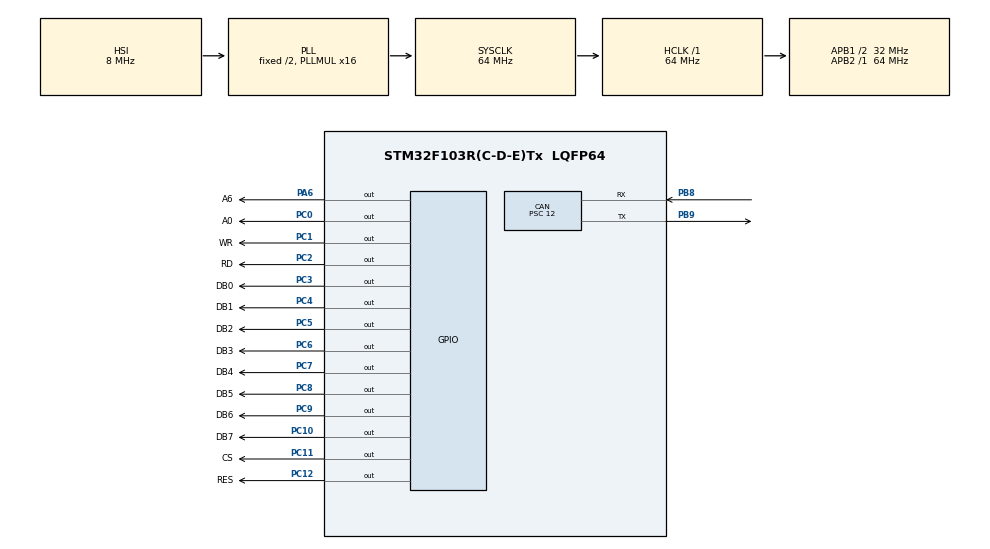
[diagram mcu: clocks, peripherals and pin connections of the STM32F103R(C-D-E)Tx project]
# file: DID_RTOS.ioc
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CAN.BS1=CAN_BS1_13TQ
CAN.BS2=CAN_BS2_2TQ
CAN.CalculateBaudRate=166666
CAN.CalculateTimeBit=6000.00
CAN.CalculateTimeQuantum=375.0
CAN.Prescaler=12
FREERTOS.Events01=stateEventFlags,Dynamic,NULL
FREERTOS.Tasks01=messageReceive,24,128,messageReceiveTask,Default,NULL,Dynamic,NULL,NULL;updateDisplay,8,128,updateDisplayTask,Default,NULL,Dynamic,NULL,NULL;updateEventFlag,32,128,updateEventFlagsTask,Default,NULL,Dynamic,NULL,NULL;pageChange,8,128,pageChangeTask,Default,NULL,Dynamic,NULL,NULL;pageTimeout,8,128,pageTimeoutTask,Default,NULL,Dynamic,NULL,NULL
FREERTOS.configUSE_NEWLIB_REENTRANT=1
Mcu.Family=STM32F1
Mcu.Name=STM32F103R(C-D-E)Tx
Mcu.Package=LQFP64
NVIC.PriorityGroup=NVIC_PRIORITYGROUP_4
NVIC.TIM8_UP_IRQn=true\:0\:0\:false\:false\:true\:false\:false\:true
NVIC.TimeBase=TIM8_UP_IRQn
NVIC.TimeBaseIP=TIM8
NVIC.USB_LP_CAN1_RX0_IRQn=true\:5\:0\:false\:false\:true\:true\:true\:true
PA13.Mode=Serial_Wire
PA13.Signal=SYS_JTMS-SWDIO
PA14.Mode=Serial_Wire
PA14.Signal=SYS_JTCK-SWCLK
PA6.GPIO_Label=A6
PA6.GPIO_PuPd=GPIO_PULLDOWN
PA6.Signal=GPIO_Output
PB8.Mode=CAN_Activate
PB8.Signal=CAN_RX
PB9.Mode=CAN_Activate
PB9.Signal=CAN_TX
PC0.GPIO_Label=A0
PC0.Signal=GPIO_Output
PC1.GPIO_Label=WR
PC1.Signal=GPIO_Output
PC10.GPIO_Label=DB7
PC10.Signal=GPIO_Output
PC11.GPIO_Label=CS
PC11.Signal=GPIO_Output
PC12.GPIO_Label=RES
PC12.Signal=GPIO_Output
PC2.GPIO_Label=RD
PC2.Signal=GPIO_Output
PC3.GPIO_Label=DB0
PC3.Signal=GPIO_Output
PC4.GPIO_Label=DB1
PC4.Signal=GPIO_Output
PC5.GPIO_Label=DB2
PC5.Signal=GPIO_Output
PC6.GPIO_Label=DB3
PC6.Signal=GPIO_Output
PC7.GPIO_Label=DB4
PC7.Signal=GPIO_Output
PC8.GPIO_Label=DB5
PC8.Signal=GPIO_Output
PC9.GPIO_Label=DB6
PC9.Signal=GPIO_Output
ProjectManager.HeapSize=0x200
ProjectManager.StackSize=0x400
ProjectManager.TargetToolchain=STM32CubeIDE
RCC.AHBFreq_Value=64000000
RCC.APB1CLKDivider=RCC_HCLK_DIV2
RCC.APB1Freq_Value=32000000
RCC.APB1TimFreq_Value=64000000
RCC.APB2Freq_Value=64000000
RCC.APB2TimFreq_Value=64000000
RCC.HCLKFreq_Value=64000000
RCC.PLLMUL=RCC_PLL_MUL16
RCC.SYSCLKFreq_VALUE=64000000
RCC.SYSCLKSource=RCC_SYSCLKSOURCE_PLLCLK
RCC.USBFreq_Value=64000000
VP_FREERTOS_VS_CMSIS_V2.Mode=CMSIS_V2
VP_SYS_VS_tim8.Mode=TIM8
board=custom

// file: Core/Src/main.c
/* USER CODE BEGIN Header */
/**
  ******************************************************************************
  * @file           : main.c
  * @brief          : Main program body
  ******************************************************************************
  * @attention
  *
  * <h2><center>&copy; Copyright (c) 2022 STMicroelectronics.
  * All rights reserved.</center></h2>
  *
  * This software component is licensed by ST under BSD 3-Clause license,
  * the "License"; You may not use this file except in compliance with the
  * License. You may obtain a copy of the License at:
  *                        opensource.org/licenses/BSD-3-Clause
  *
  ******************************************************************************
  */
/* USER CODE END Header */
#include "main.h"
#include "cmsis_os.h"
#include "can.h"
#include "gpio.h"

/* USER CODE BEGIN Includes */
#include "LCD.h"

/* USER CODE END Includes */

/* USER CODE BEGIN PV */

// CAN filtering
CAN_FilterTypeDef CAN_filter0;
CAN_FilterTypeDef CAN_filter1;

// CAN receiving
CAN_RxHeaderTypeDef CAN_rx_header;

struct EventFlags event_flags;			// Event flags set as either 1 or 0

/* USER CODE END PV */

void SystemClock_Config(void);
void MX_FREERTOS_Init(void);

/* USER CODE BEGIN 0 */

void HAL_CAN_RxFifo0MsgPendingCallback(CAN_HandleTypeDef *hcan)
{
	// Set message flag to 1 so that the update display task can execute
	event_flags.message_receive = 0x01;
}

/* USER CODE END 0 */

int main(void)
{

  /* MCU Configuration--------------------------------------------------------*/

  /* Reset of all peripherals, Initializes the Flash interface and the Systick. */
  HAL_Init();

  /* Configure the system clock */
  SystemClock_Config();

  /* Initialize all configured peripherals */
  MX_GPIO_Init();
  MX_CAN_Init();
  /* USER CODE BEGIN 2 */

  // CAN Initialization
  CanFilterSetup();
  HAL_CAN_Start(&hcan);

  // Display startup screen
  ScreenSetup();
  ClearScreen();
  DisplayScreen();

  /* USER CODE END 2 */

  /* Init scheduler */
  osKernelInitialize();  /* Call init function for freertos objects (in freertos.c) */
  MX_FREERTOS_Init();
  /* Start scheduler */
  osKernelStart();

  /* We should never get here as control is now taken by the scheduler */
  /* Infinite loop */
  while (1)
  {

  }
}

void SystemClock_Config(void)
{
  RCC_OscInitTypeDef RCC_OscInitStruct = {0};
  RCC_ClkInitTypeDef RCC_ClkInitStruct = {0};

  /** Initializes the RCC Oscillators according to the specified parameters
  * in the RCC_OscInitTypeDef structure.
  */
  RCC_OscInitStruct.OscillatorType = RCC_OSCILLATORTYPE_HSI;
  RCC_OscInitStruct.HSIState = RCC_HSI_ON;
  RCC_OscInitStruct.HSICalibrationValue = RCC_HSICALIBRATION_DEFAULT;
  RCC_OscInitStruct.PLL.PLLState = RCC_PLL_ON;
  RCC_OscInitStruct.PLL.PLLSource = RCC_PLLSOURCE_HSI_DIV2;
  RCC_OscInitStruct.PLL.PLLMUL = RCC_PLL_MUL16;
  if (HAL_RCC_OscConfig(&RCC_OscInitStruct) != HAL_OK)
  {
    Error_Handler();
  }
  /** Initializes the CPU, AHB and APB buses clocks
  */
  RCC_ClkInitStruct.ClockType = RCC_CLOCKTYPE_HCLK|RCC_CLOCKTYPE_SYSCLK
                              |RCC_CLOCKTYPE_PCLK1|RCC_CLOCKTYPE_PCLK2;
  RCC_ClkInitStruct.SYSCLKSource = RCC_SYSCLKSOURCE_PLLCLK;
  RCC_ClkInitStruct.AHBCLKDivider = RCC_SYSCLK_DIV1;
  RCC_ClkInitStruct.APB1CLKDivider = RCC_HCLK_DIV2;
  RCC_ClkInitStruct.APB2CLKDivider = RCC_HCLK_DIV1;

  if (HAL_RCC_ClockConfig(&RCC_ClkInitStruct, FLASH_LATENCY_2) != HAL_OK)
  {
    Error_Handler();
  }
}

 /**
  * @brief  Period elapsed callback in non blocking mode
  * @note   This function is called  when TIM8 interrupt took place, inside
  * HAL_TIM_IRQHandler(). It makes a direct call to HAL_IncTick() to increment
  * a global variable "uwTick" used as application time base.
  * @param  htim : TIM handle
  * @retval None
  */
void HAL_TIM_PeriodElapsedCallback(TIM_HandleTypeDef *htim)
{
  if (htim->Instance == TIM8) {
    HAL_IncTick();
  }
}

void Error_Handler(void)
{
  __disable_irq();
  while (1)
  {
  }
}

/************************ (C) COPYRIGHT STMicroelectronics *****END OF FILE****/

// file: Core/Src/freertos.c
/* USER CODE BEGIN Header */
/**
  ******************************************************************************
  * File Name          : freertos.c
  * Description        : Code for freertos applications
  ******************************************************************************
  * @attention
  *
  * <h2><center>&copy; Copyright (c) 2022 STMicroelectronics.
  * All rights reserved.</center></h2>
  *
  * This software component is licensed by ST under Ultimate Liberty license
  * SLA0044, the "License"; You may not use this file except in compliance with
  * the License. You may obtain a copy of the License at:
  *                             www.st.com/SLA0044
  *
  ******************************************************************************
  */
/* USER CODE END Header */

#include "FreeRTOS.h"
#include "task.h"
#include "main.h"
#include "cmsis_os.h"

/* USER CODE BEGIN Includes */
#include "can.h"
#include "LCD.h"

/* USER CODE END Includes */

/* USER CODE BEGIN PD */

#define MESSAGE_RECEIVE_TASK_DELAY 1
#define UPDATE_DISPLAY_TASK_DELAY 1
#define UPDATE_EVENT_FLAGS_TASK_DELAY 1
#define PAGE_CHANGE_TASK_DELAY 1
#define PAGE_TIMEOUT_TASK_DELAY 1

/* USER CODE END PD */

/* USER CODE BEGIN Variables */

/**
 * The dashboard can only be doing one of these actions at a time.
 * States are used to set the state event flag which is used in starting tasks.
 */
enum DisplayStates {
	IDLE = (uint32_t) 0x0000,					// Default state when no task needs to be executed

	MESSAGE_RECEIVE = (uint32_t) 0x0001,		// Data has been received, store the data

	UPDATE_DISPLAY = (uint32_t) 0x0002,			// After data has been stored, update the display
												// with the new data

	PAGE_CHANGE = (uint32_t) 0x0004,			// Button has been pressed, change page

	PAGE_TIMEOUT = (uint32_t) 0x0008,			// User has been on a page other than page 1
												// for a long time, go back to page 1
} state;

/* USER CODE END Variables */
/* Definitions for messageReceive */
osThreadId_t messageReceiveHandle;
const osThreadAttr_t messageReceive_attributes = {
  .name = "messageReceive",
  .stack_size = 128 * 4,
  .priority = (osPriority_t) osPriorityNormal,
};
/* Definitions for updateDisplay */
osThreadId_t updateDisplayHandle;
const osThreadAttr_t updateDisplay_attributes = {
  .name = "updateDisplay",
  .stack_size = 128 * 4,
  .priority = (osPriority_t) osPriorityLow,
};
/* Definitions for updateEventFlag */
osThreadId_t updateEventFlagHandle;
const osThreadAttr_t updateEventFlag_attributes = {
  .name = "updateEventFlag",
  .stack_size = 128 * 4,
  .priority = (osPriority_t) osPriorityAboveNormal,
};
/* Definitions for pageChange */
osThreadId_t pageChangeHandle;
const osThreadAttr_t pageChange_attributes = {
  .name = "pageChange",
  .stack_size = 128 * 4,
  .priority = (osPriority_t) osPriorityLow,
};
/* Definitions for pageTimeout */
osThreadId_t pageTimeoutHandle;
const osThreadAttr_t pageTimeout_attributes = {
  .name = "pageTimeout",
  .stack_size = 128 * 4,
  .priority = (osPriority_t) osPriorityLow,
};
/* Definitions for stateEventFlags */
osEventFlagsId_t stateEventFlagsHandle;
const osEventFlagsAttr_t stateEventFlags_attributes = {
  .name = "stateEventFlags"
};

void messageReceiveTask(void *argument);
void updateDisplayTask(void *argument);
void updateEventFlagsTask(void *argument);
void pageChangeTask(void *argument);
void pageTimeoutTask(void *argument);

void MX_FREERTOS_Init(void); /* (MISRA C 2004 rule 8.1) */

void MX_FREERTOS_Init(void) {

  /* Create the thread(s) */
  /* creation of messageReceive */
  messageReceiveHandle = osThreadNew(messageReceiveTask, NULL, &messageReceive_attributes);

  /* creation of updateDisplay */
  updateDisplayHandle = osThreadNew(updateDisplayTask, NULL, &updateDisplay_attributes);

  /* creation of updateEventFlag */
  updateEventFlagHandle = osThreadNew(updateEventFlagsTask, NULL, &updateEventFlag_attributes);

  /* creation of pageChange */
  pageChangeHandle = osThreadNew(pageChangeTask, NULL, &pageChange_attributes);

  /* creation of pageTimeout */
  pageTimeoutHandle = osThreadNew(pageTimeoutTask, NULL, &pageTimeout_attributes);

  /* Create the event(s) */
  /* creation of stateEventFlags */
  stateEventFlagsHandle = osEventFlagsNew(&stateEventFlags_attributes);

}

/* USER CODE BEGIN Header_messageReceiveTask */
/**
  * @brief  Reads CAN message ID received and updates the corresponding structure for the global data array.
  * 		Currently, parses the data for specific IDs that require manipulation of the rx_data.
  */
/* USER CODE END Header_messageReceiveTask */
void messageReceiveTask(void *argument)
{
  /* USER CODE BEGIN messageReceiveTask */
	uint8_t CAN_rx_data[8];
	while(1)
	{
		// Wait for the CAN FIFO0 interrupt to invoke and set the event flag

		osEventFlagsWait(stateEventFlagsHandle, MESSAGE_RECEIVE, osFlagsWaitAll, osWaitForever);

		// Check if message is available
		if (HAL_CAN_GetRxFifoFillLevel(&hcan, CAN_RX_FIFO0) != 0)
		{
			// Populate CAN header and data variables
			HAL_CAN_GetRxMessage(&hcan, CAN_RX_FIFO0, &CAN_rx_header, CAN_rx_data);

			// Find the matching data that needs to be updated
			for(uint8_t struct_index = 0; struct_index < NUM_CAN_IDS; struct_index++)
			{
				if(DisplayData[struct_index].can_id == CAN_rx_header.StdId)
				{
					for(int data_index = 0; data_index < 8; data_index++)
					{
						DisplayData[struct_index].raw_data[data_index] = CAN_rx_data[data_index];
					}
				}
			}

			// Set event flag to run the updateDisplay task
			event_flags.update_display = 0x01;

			// Reset the event flag after the task has finished
			event_flags.message_receive - 0x00;
		}
		osDelay(MESSAGE_RECEIVE_TASK_DELAY);
	}
  /* USER CODE END messageReceiveTask */
}

/* USER CODE BEGIN Header_updateDisplayTask */
/**
* @brief 	Updates the display. Only called after new data has been received
*/
/* USER CODE END Header_updateDisplayTask */
void updateDisplayTask(void *argument)
{
  /* USER CODE BEGIN updateDisplayTask */
	while(1)
	{
		// Wait for the CAN FIFO0 interrupt to invoke and set the event flag

		osEventFlagsWait(stateEventFlagsHandle, UPDATE_DISPLAY, osFlagsWaitAll, osWaitForever);

		DisplayScreen();

		// Reset the event flag after the task has finished
		event_flags.update_display = 0x00;

		osDelay(UPDATE_DISPLAY_TASK_DELAY);
	}
  /* USER CODE END updateDisplayTask */
}

/* USER CODE BEGIN Header_updateEventFlagsTask */
/**
* @brief 	Sets the display state event flag based on the event_flags value
*/
/* USER CODE END Header_updateEventFlagsTask */
void updateEventFlagsTask(void *argument)
{
  /* USER CODE BEGIN updateEventFlagsTask */
	while(1)
	{
		if (event_flags.message_receive) {
			state = MESSAGE_RECEIVE;
		}
		else if (event_flags.update_display) {
			state = UPDATE_DISPLAY;
		}
		else if (event_flags.page_change) {
			state = PAGE_CHANGE;
		}
		else if (event_flags.page_timeout) {
			state = PAGE_TIMEOUT;
		}
		else {
			state = IDLE;
		}

		osEventFlagsSet(stateEventFlagsHandle, state);

		osDelay(UPDATE_EVENT_FLAGS_TASK_DELAY);
	}
  /* USER CODE END updateEventFlagsTask */
}

void pageChangeTask(void *argument)
{
  /* USER CODE BEGIN pageChangeTask */
	while(1)
	{
		osEventFlagsWait(stateEventFlagsHandle, PAGE_CHANGE, osFlagsWaitAll, osWaitForever);

		osDelay(PAGE_CHANGE_TASK_DELAY);
	}
  /* USER CODE END pageChangeTask */
}

void pageTimeoutTask(void *argument)
{
  /* USER CODE BEGIN pageTimeoutTask */
	while(1)
	{
		osEventFlagsWait(stateEventFlagsHandle, PAGE_TIMEOUT, osFlagsWaitAll, osWaitForever);

		osDelay(PAGE_TIMEOUT_TASK_DELAY);
	}
  /* USER CODE END pageTimeoutTask */
}

/************************ (C) COPYRIGHT STMicroelectronics *****END OF FILE****/
